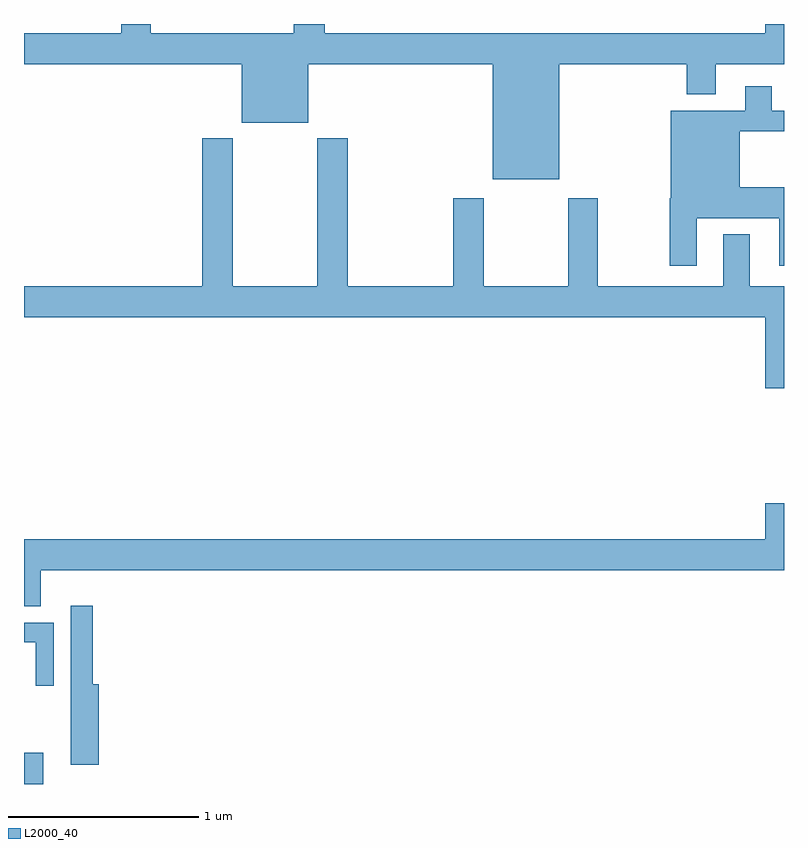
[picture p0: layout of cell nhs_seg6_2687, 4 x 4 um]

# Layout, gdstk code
import gdstk
lib = gdstk.Library(unit=1e-6, precision=1e-09)
def R(c, l, rs):  # rectangles x0, y0, x1, y1
    for r in rs: c.add(gdstk.rectangle(r[:2], r[2:], *l))
def P(c, l, *ps):  # polygons
    for p in ps: c.add(gdstk.Polygon(p, *l))
L2000_40 = (2000, 40)

nhs_seg6_2687 = lib.new_cell('nhs_seg6_2687')
R(nhs_seg6_2687, L2000_40, [(269,991.5,269.102,991.665)])
P(nhs_seg6_2687, L2000_40, [(271.816,995.288),(272.489,995.288),(272.489,995.129),(272.641,995.129),(272.641,995.288),(273,995.288),(273,995.5),(272.9,995.5),(272.9,995.452),(270.584,995.452),(270.584,995.5),(270.419,995.5),(270.419,995.452),(269.666,995.452),(269.666,995.5),(269.513,995.5),(269.513,995.452),(269,995.452),(269,995.288),(270.146,995.288),(270.146,994.979),(270.496,994.979),(270.496,995.288),(271.466,995.288),(271.466,994.682),(271.816,994.682)],
  [(272.542,994.478),(272.975,994.478),(272.975,994.227),(273,994.227),(273,994.642),(272.767,994.642),(272.767,994.935),(273,994.935),(273,995.043),(272.935,995.043),(272.935,995.173),(272.795,995.173),(272.795,995.044),(272.405,995.044),(272.405,994.582),(272.398,994.582),(272.398,994.227),(272.542,994.227)],
  [(273,994.12),(272.821,994.12),(272.821,994.393),(272.681,994.393),(272.681,994.12),(272.019,994.12),(272.019,994.582),(271.864,994.582),(271.864,994.12),(271.419,994.12),(271.419,994.582),(271.259,994.582),(271.259,994.12),(270.704,994.12),(270.704,994.9),(270.544,994.9),(270.544,994.12),(270.099,994.12),(270.099,994.9),(269.939,994.9),(269.939,994.12),(269,994.12),(269,993.956),(272.9,993.956),(272.9,993.582),(273,993.582)],
  [(269.089,992.624),(273,992.624),(273,992.977),(272.9,992.977),(272.9,992.788),(269,992.788),(269,992.435),(269.089,992.435)],
  [(269.393,992.026),(269.363,992.026),(269.363,992.437),(269.247,992.437),(269.247,991.922),(269.246,991.922),(269.246,991.602),(269.393,991.602)],
  [(269.157,992.35),(269,992.35),(269,992.246),(269.061,992.246),(269.061,992.016),(269.157,992.016)])

lib.write_gds('nhs_seg6_2687.gds')
